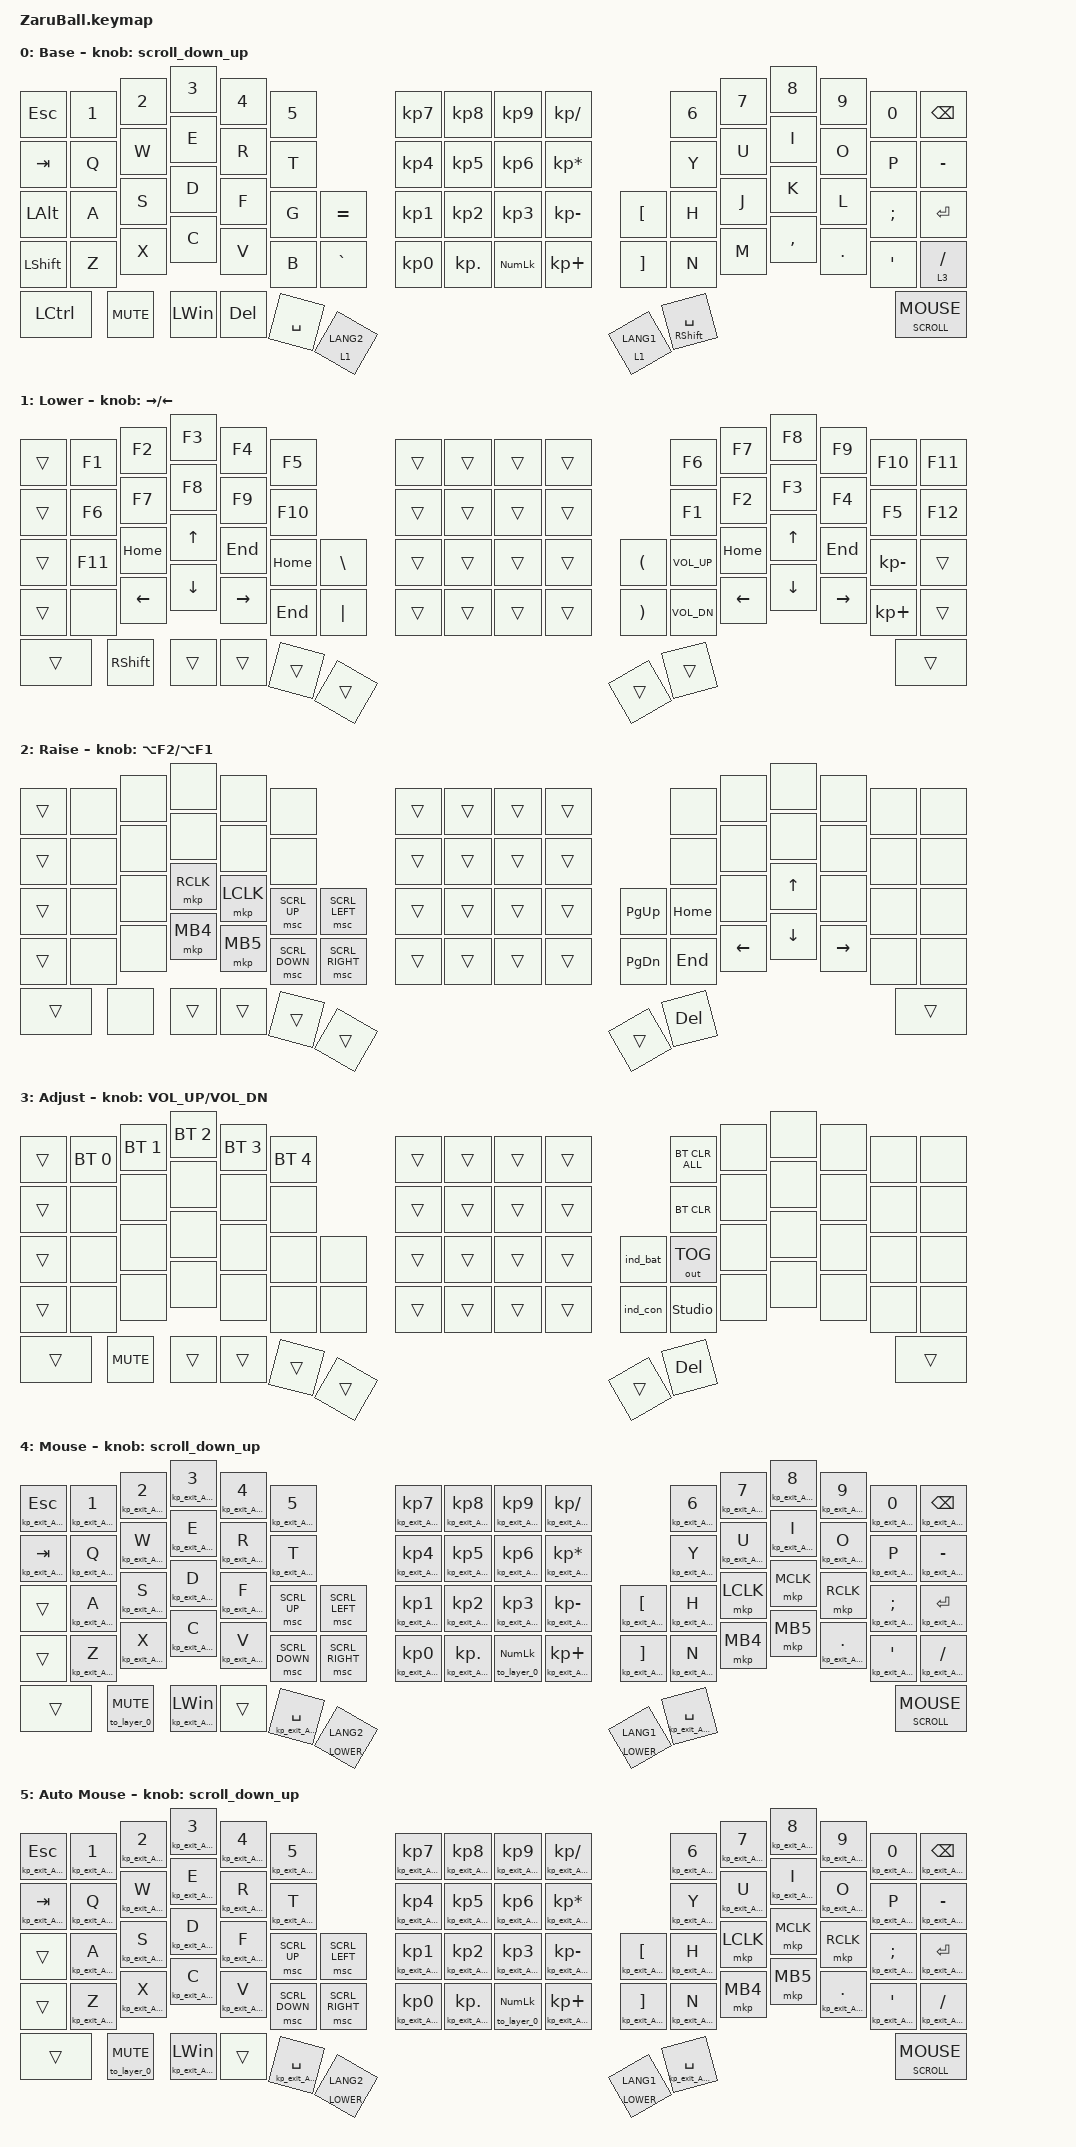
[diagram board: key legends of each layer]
#include <behaviors/rgbled_widget.dtsi>
#include <input/processors.dtsi>
#include <dt-bindings/zmk/input_transform.h>
#include <behaviors.dtsi>
#include <dt-bindings/zmk/bt.h>
#include <dt-bindings/zmk/keys.h>
#include <dt-bindings/zmk/outputs.h>
#include <dt-bindings/zmk/pointing.h>

#define BASE 0
#define LOWER 1
#define RAISE 2
#define ADJUST 3
#define MOUSE 4
#define AUTO_MOUSE 5
#define SCROLL 1

#define AML_PRIOR_IDLE_MS 200
#define AML_MOTION_THRESHOLD 40
#define AML_ACTIVATION_WINDOW_MS 80

// スクロール量の設定

#define ZMK_POINTING_DEFAULT_SCRL_VAL 100

&zip_temp_layer {
    require-prior-idle-ms = <AML_PRIOR_IDLE_MS>;
};

/ {
    zip_motion_threshold: zip_motion_threshold {
        compatible = "zmk,input-processor-motion-threshold";
        #input-processor-cells = <2>;
        delegate = <&zip_temp_layer>;
        threshold = <AML_MOTION_THRESHOLD>;
        activation-window-ms = <AML_ACTIVATION_WINDOW_MS>;
        require-prior-idle-ms = <AML_PRIOR_IDLE_MS>;
    };
};

// トラックボールの設定(AML, SCROLL)

&trackball_listener {
    input-processors = <
                        // トラックボールの向きの変更(ZaruBallv1とv2,v3ではセンサーの向きが異なるので調整してください。デフォルトではv2,v3用)
                         &zip_xy_transform (INPUT_TRANSFORM_XY_SWAP | INPUT_TRANSFORM_Y_INVERT | INPUT_TRANSFORM_X_INVERT)
                         &zip_motion_threshold AUTO_MOUSE 500 // 500ms stay at auto mouse layer
    >;

    scroller {
        layers = <SCROLL>;
        input-processors = <
                            // スクロールの向きの変更
                            &zip_xy_transform (INPUT_TRANSFORM_XY_SWAP | INPUT_TRANSFORM_X_INVERT)
                            &zip_xy_scaler 1 20 // スクロールの感度(default: x20)
                            &zip_xy_to_scroll_mapper
        >;
    };
};

/ {
    conditional_layers {
        compatible = "zmk,conditional-layers";

        tri_layer {
            if-layers = <1 2>;
            then-layer = <3>;
        };
    };
};

/ {
    behaviors {
        // スクロール用のbehaviorの設定

        scroll_down_up: behavior_sensor_rotate_mouse_wheel_down_up {
            compatible = "zmk,behavior-sensor-rotate";
            #sensor-binding-cells = <0>;
            bindings = <&msc SCRL_DOWN>, <&msc SCRL_UP>;

            tap-ms = <20>; // スクロールのタップ時間
        };

        td0: tap_dance_0 {
            compatible = "zmk,behavior-tap-dance";
            #binding-cells = <0>;
            tapping-term-ms = <200>;
            bindings = <&mt LALT LANG1>, <&mo RAISE>, <&mo MOUSE>;
        };

        td1: tap_dance_1 {
            compatible = "zmk,behavior-tap-dance";
            #binding-cells = <0>;
            tapping-term-ms = <200>;
            bindings = <&mt RCTL LANG2>, <&mo RAISE>, <&mo 5>;
        };

        scroll_mouse: behavior_scroll_mouse {
            compatible = "zmk,behavior-hold-tap";
            #binding-cells = <2>;
            flavor = "tap-preferred";
            tapping-term-ms = <200>;
            bindings = <&mo>, <&to>;
        };

        lt_exit_AML: behavior_lt_exit_AML {
            compatible = "zmk,behavior-hold-tap";
            #binding-cells = <2>;
            flavor = "tap-preferred";
            tapping-term-ms = <200>;
            bindings = <&mo_exit_AML>, <&to_layer_0>;
        };
    };
};

&sl { release-after-ms = <250>; }; // time needed for double click (for mkp_exit_AML)
/ {
    macros {
        // When in AML, move to default layer when key (except mouse button) pressed

        to_layer_0: to_layer_0 {
            compatible = "zmk,behavior-macro-one-param";
            #binding-cells = <1>;
            bindings = <&to BASE &macro_param_1to1 &kp MACRO_PLACEHOLDER>;
            label = "TO_layer_0";
        };

        kp_exit_AML: kp_exit_AML {
            compatible = "zmk,behavior-macro-one-param";
            #binding-cells = <1>;
            bindings =
                <&to BASE>,
                <&macro_press>,
                <&macro_param_1to1 &kp MACRO_PLACEHOLDER>,
                <&macro_pause_for_release>,
                <&macro_release>,
                <&macro_param_1to1 &kp MACRO_PLACEHOLDER>;

            label = "KP_EXIT_AML";
        };

        mo_exit_AML: mo_exit_AML {
            compatible = "zmk,behavior-macro-one-param";
            #binding-cells = <1>;
            bindings =
                <&to BASE>,
                <&macro_press>,
                <&macro_param_1to1 &mo MACRO_PLACEHOLDER>,
                <&macro_pause_for_release>,
                <&macro_release>,
                <&macro_param_1to1 &mo MACRO_PLACEHOLDER>;

            label = "MO_EXIT_AML";
        };

        // When LCLK pressed, exit AML (after 250ms cause by sticky layer)

        mkp_exit_AML: mkp_exit_AML {
            compatible = "zmk,behavior-macro-one-param";
            #binding-cells = <1>;
            bindings =
                <&macro_press>,
                <&macro_param_1to1 &mkp MACRO_PLACEHOLDER>,
                <&macro_pause_for_release>,
                <&macro_release>,
                <&macro_param_1to1 &mkp MACRO_PLACEHOLDER>,
                <&macro_tap>,
                <&sl AUTO_MOUSE>;

            label = "MKP_EXIT_AML";
        };

        // Support swapping into Scroll layer when AML is activated

        to_scroll_layer: to_scroll_layer {
            compatible = "zmk,behavior-macro";
            #binding-cells = <0>;
            bindings =
                <&to SCROLL>,
                <&macro_press>,
                <&mo SCROLL>,
                <&macro_pause_for_release>,
                <&macro_release>,
                <&mo SCROLL>;
        };
    };
};

/ {
    keymap {
        compatible = "zmk,keymap";

        base_layer {
            display-name = "Base";
            sensor-bindings = <&scroll_down_up>;
            bindings = <
&kp ESC       &kp N1  &kp N2      &kp N3    &kp N4         &kp N5                            &kp KP_N7     &kp KP_N8  &kp KP_N9   &kp KP_DIVIDE                 &kp NUMBER_6  &kp N7            &kp N8  &kp N9     &kp N0   &kp BACKSPACE
&kp TAB       &kp Q   &kp W       &kp E     &kp R          &kp T                             &kp KP_N4     &kp KP_N5  &kp KP_N6   &kp KP_MULTIPLY               &kp Y         &kp U             &kp I   &kp O      &kp P    &kp MINUS
&kp LEFT_ALT  &kp A   &kp S       &kp D     &kp F          &kp G               &kp EQUAL     &kp KP_N1     &kp KP_N2  &kp KP_N3       &kp KP_MINUS    &kp LBKT   &kp H             &kp J   &kp K      &kp L    &kp SEMI  &kp ENTER
&kp LSHFT     &kp Z   &kp X       &kp C     &kp V          &kp B               &kp GRAVE     &kp KP_N0     &kp KP_DOT &kp KP_NUMLOCK  &kp KP_PLUS     &kp RBKT   &kp N             &kp M   &kp COMMA  &kp DOT  &kp SINGLE_QUOTE  &lt 3 FSLH
&kp LCTRL             &kp C_MUTE  &kp LWIN  &kp DEL        &kp SPACE            &lt 1 LANG2                                                          &lt 1 LANG1      &mt RSHFT SPACE                                        &scroll_mouse SCROLL MOUSE
            >;
        };

        lower_layer {
            display-name = "Lower";
            sensor-bindings = <&inc_dec_kp RIGHT LEFT>;
            bindings = <
&trans  &kp F1   &kp F2     &kp F3    &kp F4     &kp F5                   &trans  &trans  &trans  &trans              &kp F6    &kp F7        &kp F8    &kp F9          &kp F10          &kp F11
&trans  &kp F6   &kp F7     &kp F8    &kp F9     &kp F10                  &trans  &trans  &trans  &trans              &kp F1    &kp F2        &kp F3    &kp F4          &kp F5           &kp F12
&trans  &kp F11  &kp HOME   &kp UP    &kp END    &kp HOME  &kp BACKSLASH   &trans  &trans  &trans  &trans    &kp LPAR  &kp C_VOL_UP    &kp HOME  &kp UP_ARROW    &kp END          &kp KP_MINUS  &trans
&trans  &none    &kp LEFT   &kp DOWN  &kp RIGHT  &kp END   &kp PIPE        &trans  &trans  &trans  &trans    &kp RPAR  &kp C_VOL_DN    &kp LEFT  &kp DOWN_ARROW  &kp RIGHT_ARROW  &kp KP_PLUS   &trans
&trans           &kp RSHFT  &trans    &trans     &trans    &trans                                         &trans    &trans                                                   &trans
            >;
        };

        raise_layer {
            display-name = "Raise";
            sensor-bindings = <&inc_dec_kp LA(F2) LA(F1)>;
            bindings = <
&trans  &none  &none  &none      &none      &none                              &trans  &trans  &trans  &trans               &none     &none     &none     &none      &none  &none
&trans  &none  &none  &none      &none      &none                              &trans  &trans  &trans  &trans               &none     &none     &none     &none      &none  &none
&trans  &none  &none  &mkp RCLK  &mkp LCLK  &msc SCRL_UP    &msc SCRL_LEFT     &trans  &trans  &trans  &trans    &kp PG_UP  &kp HOME  &none     &kp UP    &none      &none  &none
&trans  &none  &none  &mkp MB4   &mkp MB5   &msc SCRL_DOWN  &msc SCRL_RIGHT    &trans  &trans  &trans  &trans    &kp PG_DN  &kp END   &kp LEFT  &kp DOWN  &kp RIGHT  &none  &none
&trans  &none         &trans     &trans     &trans          &trans                                               &trans     &kp DEL                                         &trans
            >;
        };

        adjust_layer {
            display-name = "Adjust";
            sensor-bindings = <&inc_dec_kp C_VOL_UP C_VOL_DN>;
            bindings = <
&trans  &bt BT_SEL 0  &bt BT_SEL 1  &bt BT_SEL 2  &bt BT_SEL 3  &bt BT_SEL 4            &trans  &trans  &trans  &trans              &bt BT_CLR_ALL  &none         &none  &none  &none  &none
&trans  &none         &none         &none         &none         &none                   &trans  &trans  &trans  &trans              &bt BT_CLR      &none         &none  &none  &none  &none
&trans  &none         &none         &none         &none         &none         &none     &trans  &trans  &trans  &trans    &ind_bat  &out OUT_TOG    &none  &none  &none  &none  &none
&trans  &none         &none         &none         &none         &none         &none     &trans  &trans  &trans  &trans    &ind_con  &studio_unlock  &none  &none  &none  &none  &none
&trans                &kp C_MUTE    &trans        &trans        &trans        &trans                                      &trans    &kp DEL                                     &trans
            >;
        };

        mouse_layer {
            display-name = "Mouse";
            sensor-bindings = <&scroll_down_up>;
            bindings = <
&kp_exit_AML ESC  &kp_exit_AML N1  &kp_exit_AML N2  &kp_exit_AML N3  &kp_exit_AML N4  &kp_exit_AML N5                  &kp_exit_AML KP_N7     &kp_exit_AML KP_N8  &kp_exit_AML KP_N9   &kp_exit_AML KP_DIVIDE                  &kp_exit_AML NUMBER_6  &kp_exit_AML N7     &kp_exit_AML N8  &kp_exit_AML N9  &kp_exit_AML N0  &kp_exit_AML BACKSPACE
&kp_exit_AML TAB  &kp_exit_AML Q   &kp_exit_AML W   &kp_exit_AML E   &kp_exit_AML R   &kp_exit_AML T                   &kp_exit_AML KP_N4     &kp_exit_AML KP_N5  &kp_exit_AML KP_N6   &kp_exit_AML KP_MULTIPLY                &kp_exit_AML Y         &kp_exit_AML U      &kp_exit_AML I   &kp_exit_AML O   &kp_exit_AML P   &kp_exit_AML MINUS
&trans           &kp_exit_AML A   &kp_exit_AML S   &kp_exit_AML D   &kp_exit_AML F   &msc SCRL_UP    &msc SCRL_LEFT   &kp_exit_AML KP_N1     &kp_exit_AML KP_N2  &kp_exit_AML KP_N3       &kp_exit_AML KP_MINUS    &kp_exit_AML LBKT   &kp_exit_AML H      &mkp LCLK       &mkp MCLK       &mkp RCLK       &kp_exit_AML SEMI  &kp_exit_AML ENTER
&trans           &kp_exit_AML Z   &kp_exit_AML X   &kp_exit_AML C   &kp_exit_AML V   &msc SCRL_DOWN  &msc SCRL_RIGHT  &kp_exit_AML KP_N0     &kp_exit_AML KP_DOT &to_layer_0 KP_NUMLOCK  &kp_exit_AML KP_PLUS     &kp_exit_AML RBKT   &kp_exit_AML N      &mkp MB4        &mkp MB5        &kp_exit_AML DOT  &kp_exit_AML SINGLE_QUOTE  &kp_exit_AML FSLH
&trans                   &to_layer_0 C_MUTE   &kp_exit_AML LWIN  &trans  &kp_exit_AML SPACE         &lt_exit_AML LOWER LANG2                            &lt_exit_AML LOWER LANG1  &kp_exit_AML SPACE                                  &scroll_mouse SCROLL MOUSE
            >;
        };

        auto_mouse_layer {
            display-name = "Auto Mouse";
            sensor-bindings = <&scroll_down_up>;
            bindings = <
&kp_exit_AML ESC  &kp_exit_AML N1  &kp_exit_AML N2  &kp_exit_AML N3  &kp_exit_AML N4  &kp_exit_AML N5                  &kp_exit_AML KP_N7     &kp_exit_AML KP_N8  &kp_exit_AML KP_N9   &kp_exit_AML KP_DIVIDE                  &kp_exit_AML NUMBER_6  &kp_exit_AML N7     &kp_exit_AML N8  &kp_exit_AML N9  &kp_exit_AML N0  &kp_exit_AML BACKSPACE
&kp_exit_AML TAB  &kp_exit_AML Q   &kp_exit_AML W   &kp_exit_AML E   &kp_exit_AML R   &kp_exit_AML T                   &kp_exit_AML KP_N4     &kp_exit_AML KP_N5  &kp_exit_AML KP_N6   &kp_exit_AML KP_MULTIPLY                &kp_exit_AML Y         &kp_exit_AML U      &kp_exit_AML I   &kp_exit_AML O   &kp_exit_AML P   &kp_exit_AML MINUS
&trans           &kp_exit_AML A   &kp_exit_AML S   &kp_exit_AML D   &kp_exit_AML F   &msc SCRL_UP    &msc SCRL_LEFT   &kp_exit_AML KP_N1     &kp_exit_AML KP_N2  &kp_exit_AML KP_N3       &kp_exit_AML KP_MINUS    &kp_exit_AML LBKT   &kp_exit_AML H      &mkp LCLK       &mkp MCLK       &mkp RCLK       &kp_exit_AML SEMI  &kp_exit_AML ENTER
&trans           &kp_exit_AML Z   &kp_exit_AML X   &kp_exit_AML C   &kp_exit_AML V   &msc SCRL_DOWN  &msc SCRL_RIGHT  &kp_exit_AML KP_N0     &kp_exit_AML KP_DOT &to_layer_0 KP_NUMLOCK  &kp_exit_AML KP_PLUS     &kp_exit_AML RBKT   &kp_exit_AML N      &mkp MB4        &mkp MB5        &kp_exit_AML DOT  &kp_exit_AML SINGLE_QUOTE  &kp_exit_AML FSLH
&trans                   &to_layer_0 C_MUTE   &kp_exit_AML LWIN  &trans  &kp_exit_AML SPACE         &lt_exit_AML LOWER LANG2                            &lt_exit_AML LOWER LANG1  &kp_exit_AML SPACE                                  &scroll_mouse SCROLL MOUSE
            >;
        };

        // Extra layer can be added in ZMK STUDIO

        extra1 { status = "reserved"; };

        extra2 { status = "reserved"; };
    };
};
